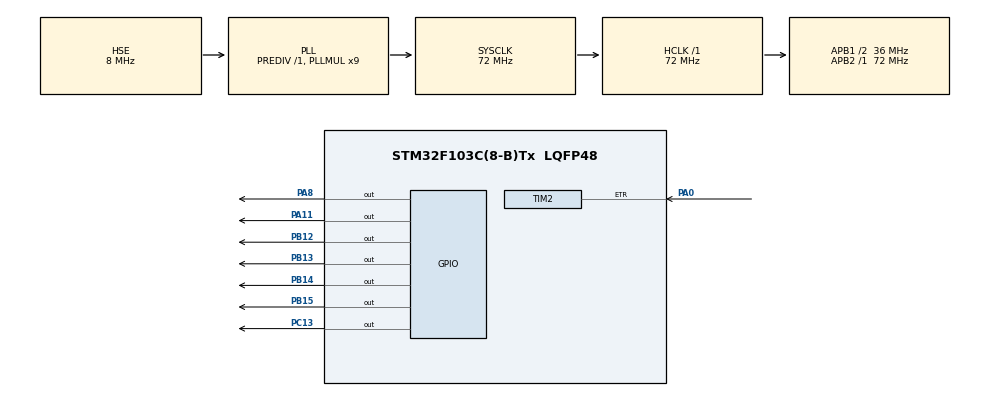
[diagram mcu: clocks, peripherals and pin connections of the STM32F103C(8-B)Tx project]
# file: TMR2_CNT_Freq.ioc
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Mcu.Family=STM32F1
Mcu.Name=STM32F103C(8-B)Tx
Mcu.Package=LQFP48
NVIC.PriorityGroup=NVIC_PRIORITYGROUP_4
NVIC.TIM3_IRQn=true\:0\:0\:false\:false\:true\:true\:true\:true
PA0-WKUP.Signal=S_TIM2_CH1_ETR
PA11.Signal=GPIO_Output
PA13.Mode=Serial_Wire
PA13.Signal=SYS_JTMS-SWDIO
PA14.Mode=Serial_Wire
PA14.Signal=SYS_JTCK-SWCLK
PA8.Signal=GPIO_Output
PB12.Signal=GPIO_Output
PB13.Signal=GPIO_Output
PB14.Signal=GPIO_Output
PB15.Signal=GPIO_Output
PC13-TAMPER-RTC.Signal=GPIO_Output
PD0-OSC_IN.Mode=HSE-External-Oscillator
PD0-OSC_IN.Signal=RCC_OSC_IN
PD1-OSC_OUT.Mode=HSE-External-Oscillator
PD1-OSC_OUT.Signal=RCC_OSC_OUT
ProjectManager.HeapSize=0x200
ProjectManager.StackSize=0x400
ProjectManager.TargetToolchain=STM32CubeIDE
RCC.AHBFreq_Value=72000000
RCC.APB1CLKDivider=RCC_HCLK_DIV2
RCC.APB1Freq_Value=36000000
RCC.APB1TimFreq_Value=72000000
RCC.APB2Freq_Value=72000000
RCC.APB2TimFreq_Value=72000000
RCC.HCLKFreq_Value=72000000
RCC.PLLMUL=RCC_PLL_MUL9
RCC.PLLSourceVirtual=RCC_PLLSOURCE_HSE
RCC.SYSCLKFreq_VALUE=72000000
RCC.SYSCLKSource=RCC_SYSCLKSOURCE_PLLCLK
RCC.USBFreq_Value=72000000
SH.S_TIM2_CH1_ETR.0=TIM2_ETR,ClockSourceETR_Mode2
TIM2.AutoReloadPreload=TIM_AUTORELOAD_PRELOAD_ENABLE
TIM2.ClockFilter=0
TIM2.ClockPolarity=TIM_CLOCKPOLARITY_NONINVERTED
TIM2.Period=65535
TIM3.AutoReloadPreload=TIM_AUTORELOAD_PRELOAD_ENABLE
TIM3.Period=36000
TIM3.Prescaler=100
VP_TIM3_VS_ClockSourceINT.Mode=Internal
board=custom

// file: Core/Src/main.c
/* USER CODE BEGIN Header */
/**
  ******************************************************************************
  * @file           : main.c
  * @brief          : Main program body
  ******************************************************************************
  * @attention
  *
  * Copyright (c) 2024 STMicroelectronics.
  * All rights reserved.
  *
  * This software is licensed under terms that can be found in the LICENSE file
  * in the root directory of this software component.
  * If no LICENSE file comes with this software, it is provided AS-IS.
  *
  ******************************************************************************
  */
/* USER CODE END Header */
#include "main.h"

/* USER CODE BEGIN Includes */

#include <stdio.h>
#include "LCD1602_4Bits.h"

/* USER CODE END Includes */

TIM_HandleTypeDef htim2;
TIM_HandleTypeDef htim3;

/* USER CODE BEGIN PV */

uint32_t CounterTicks = 0x00;
uint32_t Freq = 0x00;

char bufferLCD[16];

/* USER CODE END PV */

void SystemClock_Config(void);
static void MX_GPIO_Init(void);
static void MX_TIM2_Init(void);
static void MX_TIM3_Init(void);

/* USER CODE BEGIN 0 */

void HAL_TIM_PeriodElapsedCallback(TIM_HandleTypeDef* htim)
{
	if(htim->Instance == TIM3)
	{
		CounterTicks = TIM2->CNT;
		Freq = CounterTicks * 20;

		TIM3->CNT = 0;
		TIM2->CNT = 0;
	}
}

/* USER CODE END 0 */

int main(void)
{

  /* MCU Configuration--------------------------------------------------------*/

  /* Reset of all peripherals, Initializes the Flash interface and the Systick. */
  HAL_Init();

  /* Configure the system clock */
  SystemClock_Config();

  /* Initialize all configured peripherals */
  MX_GPIO_Init();
  MX_TIM2_Init();
  MX_TIM3_Init();
  /* USER CODE BEGIN 2 */

  HAL_TIM_Base_Start(&htim2);
  HAL_TIM_Base_Start_IT(&htim3);

  lcd_init();
  lcd_put_cur(0, 0);
  lcd_send_string("FREQ. = ");

  /* USER CODE END 2 */

  /* Infinite loop */
  /* USER CODE BEGIN WHILE */
  while (1)
  {
	  HAL_GPIO_TogglePin(GPIOC, GPIO_PIN_13);

	  sprintf(bufferLCD, "%ld Hz", Freq);

	  lcd_put_cur(0, 8);
	  lcd_send_string(bufferLCD);

	  HAL_Delay(1000);
    /* USER CODE END WHILE */

  }
}

void SystemClock_Config(void)
{
  RCC_OscInitTypeDef RCC_OscInitStruct = {0};
  RCC_ClkInitTypeDef RCC_ClkInitStruct = {0};

  /** Initializes the RCC Oscillators according to the specified parameters
  * in the RCC_OscInitTypeDef structure.
  */
  RCC_OscInitStruct.OscillatorType = RCC_OSCILLATORTYPE_HSE;
  RCC_OscInitStruct.HSEState = RCC_HSE_ON;
  RCC_OscInitStruct.HSEPredivValue = RCC_HSE_PREDIV_DIV1;
  RCC_OscInitStruct.HSIState = RCC_HSI_ON;
  RCC_OscInitStruct.PLL.PLLState = RCC_PLL_ON;
  RCC_OscInitStruct.PLL.PLLSource = RCC_PLLSOURCE_HSE;
  RCC_OscInitStruct.PLL.PLLMUL = RCC_PLL_MUL9;
  if (HAL_RCC_OscConfig(&RCC_OscInitStruct) != HAL_OK)
  {
    Error_Handler();
  }

  /** Initializes the CPU, AHB and APB buses clocks
  */
  RCC_ClkInitStruct.ClockType = RCC_CLOCKTYPE_HCLK|RCC_CLOCKTYPE_SYSCLK
                              |RCC_CLOCKTYPE_PCLK1|RCC_CLOCKTYPE_PCLK2;
  RCC_ClkInitStruct.SYSCLKSource = RCC_SYSCLKSOURCE_PLLCLK;
  RCC_ClkInitStruct.AHBCLKDivider = RCC_SYSCLK_DIV1;
  RCC_ClkInitStruct.APB1CLKDivider = RCC_HCLK_DIV2;
  RCC_ClkInitStruct.APB2CLKDivider = RCC_HCLK_DIV1;

  if (HAL_RCC_ClockConfig(&RCC_ClkInitStruct, FLASH_LATENCY_2) != HAL_OK)
  {
    Error_Handler();
  }
}

static void MX_TIM2_Init(void)
{

  TIM_ClockConfigTypeDef sClockSourceConfig = {0};
  TIM_MasterConfigTypeDef sMasterConfig = {0};

  htim2.Instance = TIM2;
  htim2.Init.Prescaler = 0;
  htim2.Init.CounterMode = TIM_COUNTERMODE_UP;
  htim2.Init.Period = 65535;
  htim2.Init.ClockDivision = TIM_CLOCKDIVISION_DIV1;
  htim2.Init.AutoReloadPreload = TIM_AUTORELOAD_PRELOAD_ENABLE;
  if (HAL_TIM_Base_Init(&htim2) != HAL_OK)
  {
    Error_Handler();
  }
  sClockSourceConfig.ClockSource = TIM_CLOCKSOURCE_ETRMODE2;
  sClockSourceConfig.ClockPolarity = TIM_CLOCKPOLARITY_NONINVERTED;
  sClockSourceConfig.ClockPrescaler = TIM_CLOCKPRESCALER_DIV1;
  sClockSourceConfig.ClockFilter = 0;
  if (HAL_TIM_ConfigClockSource(&htim2, &sClockSourceConfig) != HAL_OK)
  {
    Error_Handler();
  }
  sMasterConfig.MasterOutputTrigger = TIM_TRGO_RESET;
  sMasterConfig.MasterSlaveMode = TIM_MASTERSLAVEMODE_DISABLE;
  if (HAL_TIMEx_MasterConfigSynchronization(&htim2, &sMasterConfig) != HAL_OK)
  {
    Error_Handler();
  }

}

static void MX_TIM3_Init(void)
{

  TIM_ClockConfigTypeDef sClockSourceConfig = {0};
  TIM_MasterConfigTypeDef sMasterConfig = {0};

  htim3.Instance = TIM3;
  htim3.Init.Prescaler = 100;
  htim3.Init.CounterMode = TIM_COUNTERMODE_UP;
  htim3.Init.Period = 36000;
  htim3.Init.ClockDivision = TIM_CLOCKDIVISION_DIV1;
  htim3.Init.AutoReloadPreload = TIM_AUTORELOAD_PRELOAD_ENABLE;
  if (HAL_TIM_Base_Init(&htim3) != HAL_OK)
  {
    Error_Handler();
  }
  sClockSourceConfig.ClockSource = TIM_CLOCKSOURCE_INTERNAL;
  if (HAL_TIM_ConfigClockSource(&htim3, &sClockSourceConfig) != HAL_OK)
  {
    Error_Handler();
  }
  sMasterConfig.MasterOutputTrigger = TIM_TRGO_RESET;
  sMasterConfig.MasterSlaveMode = TIM_MASTERSLAVEMODE_DISABLE;
  if (HAL_TIMEx_MasterConfigSynchronization(&htim3, &sMasterConfig) != HAL_OK)
  {
    Error_Handler();
  }

}

static void MX_GPIO_Init(void)
{
  GPIO_InitTypeDef GPIO_InitStruct = {0};

  /* GPIO Ports Clock Enable */
  __HAL_RCC_GPIOC_CLK_ENABLE();
  __HAL_RCC_GPIOD_CLK_ENABLE();
  __HAL_RCC_GPIOA_CLK_ENABLE();
  __HAL_RCC_GPIOB_CLK_ENABLE();

  /*Configure GPIO pin Output Level */
  HAL_GPIO_WritePin(GPIOC, GPIO_PIN_13, GPIO_PIN_RESET);

  /*Configure GPIO pin Output Level */
  HAL_GPIO_WritePin(GPIOB, GPIO_PIN_12|GPIO_PIN_13|GPIO_PIN_14|GPIO_PIN_15, GPIO_PIN_RESET);

  /*Configure GPIO pin Output Level */
  HAL_GPIO_WritePin(GPIOA, GPIO_PIN_8|GPIO_PIN_11, GPIO_PIN_RESET);

  /*Configure GPIO pin : PC13 */
  GPIO_InitStruct.Pin = GPIO_PIN_13;
  GPIO_InitStruct.Mode = GPIO_MODE_OUTPUT_PP;
  GPIO_InitStruct.Pull = GPIO_NOPULL;
  GPIO_InitStruct.Speed = GPIO_SPEED_FREQ_LOW;
  HAL_GPIO_Init(GPIOC, &GPIO_InitStruct);

  /*Configure GPIO pins : PB12 PB13 PB14 PB15 */
  GPIO_InitStruct.Pin = GPIO_PIN_12|GPIO_PIN_13|GPIO_PIN_14|GPIO_PIN_15;
  GPIO_InitStruct.Mode = GPIO_MODE_OUTPUT_PP;
  GPIO_InitStruct.Pull = GPIO_NOPULL;
  GPIO_InitStruct.Speed = GPIO_SPEED_FREQ_LOW;
  HAL_GPIO_Init(GPIOB, &GPIO_InitStruct);

  /*Configure GPIO pins : PA8 PA11 */
  GPIO_InitStruct.Pin = GPIO_PIN_8|GPIO_PIN_11;
  GPIO_InitStruct.Mode = GPIO_MODE_OUTPUT_PP;
  GPIO_InitStruct.Pull = GPIO_NOPULL;
  GPIO_InitStruct.Speed = GPIO_SPEED_FREQ_LOW;
  HAL_GPIO_Init(GPIOA, &GPIO_InitStruct);

}

void Error_Handler(void)
{
  __disable_irq();
  while (1)
  {
  }
}
